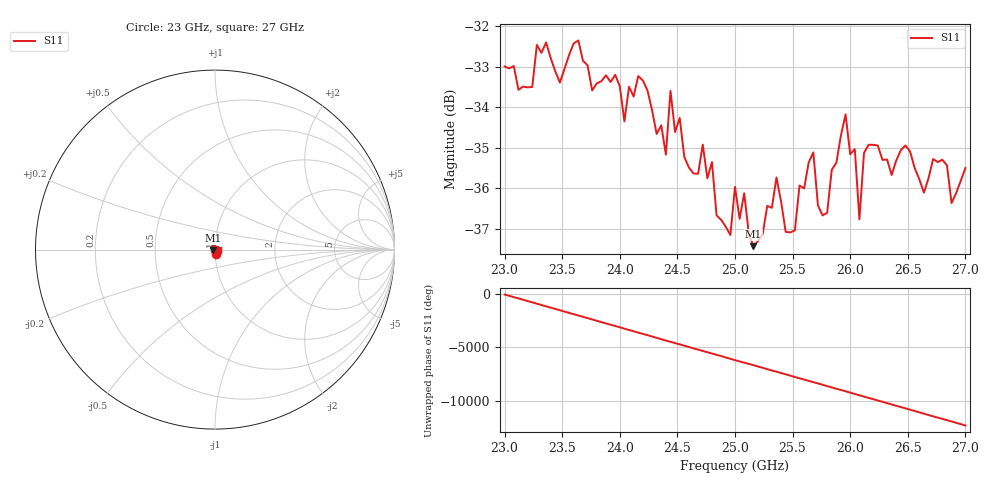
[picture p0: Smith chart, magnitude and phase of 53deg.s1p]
#  HZ  S  RI  R  50.00
! Rohde & Schwarz ZVA40 4Ports - Version 3.90 - 1145.1110k42 SN: 100403
! Date: 2023-09-26 10:42:20
! Measurement: S12
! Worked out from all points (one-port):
!   101 points, 23 GHz to 27 GHz, reference 50 ohm
!   lowest |S11| = -37.4 dB at 25.16 GHz (marker M1), VSWR 1.03, Z = 48.7 - j0.432 ohm
!   |S11| at or under -10 dB: start of sweep to end of sweep
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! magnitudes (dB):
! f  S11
! 23 GHz  -33.0
! 23.52 GHz  -33.1
! 23.64 GHz  -32.4
! 23.76 GHz  -33.6
! 24 GHz  -33.5
! 24.04 GHz  -34.4
! 24.2 GHz  -33.3
! 24.4 GHz  -35.2
! 24.44 GHz  -33.6
! 24.52 GHz  -34.3
! 24.8 GHz  -35.4
! 24.96 GHz  -37.2
! 25 GHz  -36.0
! 25.16 GHz  -37.4
! 25.36 GHz  -35.7
! 25.52 GHz  -37.0
! 25.68 GHz  -35.1
! 25.76 GHz  -36.7
! 25.96 GHz  -34.2
! 26 GHz  -35.2
! 26.04 GHz  -35.0
! 26.08 GHz  -36.8
! 26.16 GHz  -34.9
! 26.52 GHz  -35.1
! 26.64 GHz  -36.1
! 26.84 GHz  -35.4
! 26.88 GHz  -36.4
! 27 GHz  -35.5
